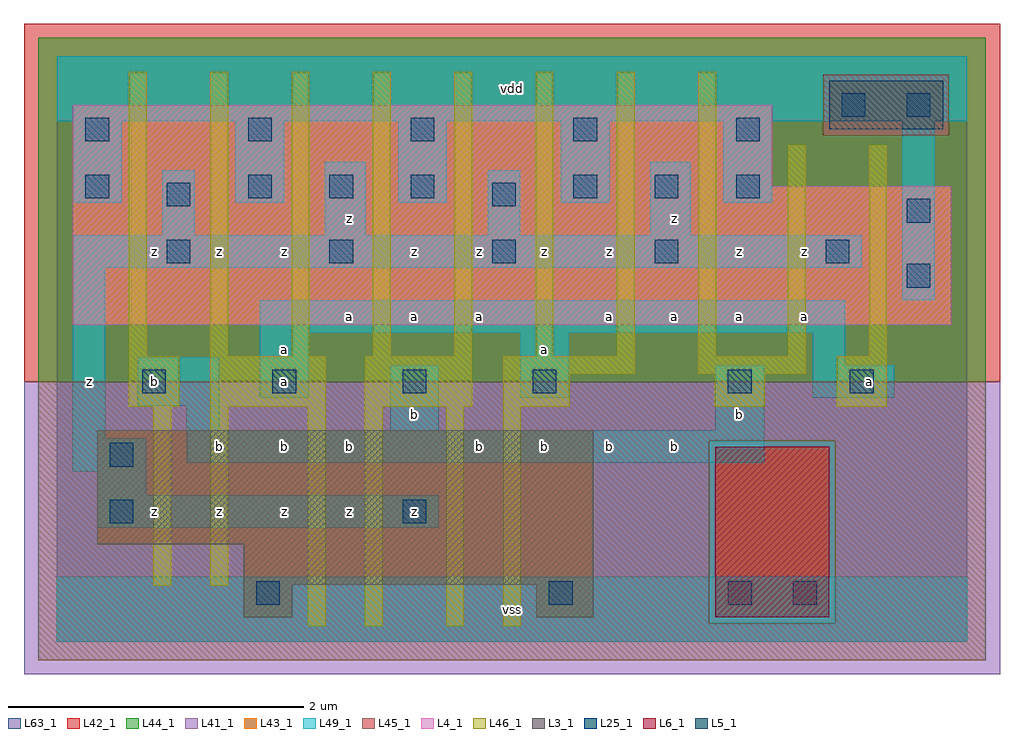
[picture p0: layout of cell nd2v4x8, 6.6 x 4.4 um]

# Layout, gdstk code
import gdstk
lib = gdstk.Library(unit=1e-6, precision=1e-09)
def R(c, l, rs):  # rectangles x0, y0, x1, y1
    for r in rs: c.add(gdstk.rectangle(r[:2], r[2:], *l))
def A(c, l, x, y, w, h, nx, ny, dx, dy):  # array of equal rectangles
    R(c, l, [(x+i*dx, y+j*dy, x+i*dx+w, y+j*dy+h) for i in range(nx) for j in range(ny)])
L3_1 = (3, 1)
L4_1 = (4, 1)
L5_1 = (5, 1)
L6_1 = (6, 1)
L25_1 = (25, 1)
L41_1 = (41, 1)
L42_1 = (42, 1)
L43_1 = (43, 1)
L44_1 = (44, 1)
L45_1 = (45, 1)
L46_1 = (46, 1)
L49_1 = (49, 1)
L63_1 = (63, 1)

nd2v4x8 = lib.new_cell('nd2v4x8')
R(nd2v4x8, L3_1, [(1.265,0.165,1.595,0.385), (3.245,0.165,3.63,0.385), (1.265,0.385,3.63,0.66), (0.275,0.66,3.63,1.43)])
R(nd2v4x8, L4_1, [(0.11,2.145,6.05,3.08), (0.11,3.08,4.84,3.63)])
R(nd2v4x8, L5_1, [(5.225,3.465,5.995,3.795)])
R(nd2v4x8, L6_1, [(4.455,0.165,5.225,1.32)])
A(nd2v4x8, L25_1, 0.58, 1.68, 0.16, 0.16, 4, 1, 0.88, 0)
A(nd2v4x8, L25_1, 0.745, 2.56, 0.16, 0.16, 4, 1, 1.1, 0)
A(nd2v4x8, L25_1, 1.295, 3, 0.16, 0.16, 3, 1, 0.55, 0)
A(nd2v4x8, L25_1, 3.495, 3, 0.16, 0.16, 3, 1, 0.55, 0)
A(nd2v4x8, L25_1, 0.195, 3.385, 0.16, 0.16, 5, 1, 1.1, 0)
R(nd2v4x8, L25_1, [(1.35,0.25,1.51,0.41), (3.33,0.25,3.49,0.41), (4.54,0.25,4.7,0.41), (4.98,0.25,5.14,0.41), (0.36,0.8,0.52,0.96), (2.34,0.8,2.5,0.96), (0.36,1.185,0.52,1.345), (4.54,1.68,4.7,1.84), (5.365,1.68,5.525,1.84), (5.75,2.395,5.91,2.555), (5.2,2.56,5.36,2.72), (5.75,2.835,5.91,2.995), (0.745,2.945,0.905,3.105), (2.945,2.945,3.105,3.105), (0.195,3,0.355,3.16), (5.31,3.55,5.47,3.71), (5.75,3.55,5.91,3.71)])
R(nd2v4x8, L41_1, [(-0.22,-0.22,6.38,1.76)])
R(nd2v4x8, L42_1, [(-0.22,1.76,6.38,4.18)])
R(nd2v4x8, L43_1, [(1.265,0.165,1.595,0.385), (3.245,0.165,3.63,0.385), (4.455,0.165,5.225,1.32), (1.265,0.385,3.63,0.66), (0.275,0.66,3.63,1.43), (0.11,2.145,6.05,3.08), (0.11,3.08,4.84,3.63), (5.225,3.465,5.995,3.795)])
R(nd2v4x8, L44_1, [(4.415,0.125,5.265,1.36), (-0.125,1.76,6.285,3.425), (-0.125,3.425,5.185,3.835), (6.035,3.425,6.285,3.835), (-0.125,3.835,6.285,4.085)])
R(nd2v4x8, L45_1, [(-0.125,-0.125,6.285,0.125), (-0.125,0.125,4.415,1.36), (5.265,0.125,6.285,1.36), (-0.125,1.36,6.285,1.76), (5.185,3.425,6.035,3.835)])
A(nd2v4x8, L46_1, 0.49, 1.93, 0.12, 1.925, 8, 1, 0.55, 0)
R(nd2v4x8, L46_1, [(1.7,0.105,1.82,1.59), (2.085,0.105,2.205,1.59), (2.635,0.105,2.755,1.59), (3.02,0.105,3.14,1.59), (0.655,0.38,0.775,1.59), (1.04,0.38,1.16,1.59), (0.49,1.59,0.83,1.93), (1.04,1.59,1.82,1.93), (2.085,1.59,2.81,1.93), (3.02,1.59,3.47,1.81), (4.45,1.59,4.79,1.81), (5.275,1.59,5.615,1.93), (3.02,1.81,3.91,1.93), (4.34,1.81,5.065,1.93), (4.945,1.93,5.065,3.36), (5.495,1.93,5.615,3.36)])
A(nd2v4x8, L49_1, 0.11, 2.97, 0.33, 0.55, 5, 1, 1.1, 0)
R(nd2v4x8, L49_1, [(0,0,6.16,0.44), (0.275,0.77,2.585,0.99), (0.275,0.99,0.605,1.155), (0.11,1.155,0.605,1.375), (0.88,1.21,4.785,1.43), (0.11,1.375,0.33,2.53), (0.88,1.43,1.1,1.595), (2.255,1.43,2.585,1.87), (4.455,1.43,4.785,1.87), (0.55,1.595,1.1,1.925), (1.375,1.65,1.705,2.09), (3.135,1.65,3.465,2.09), (5.115,1.65,5.665,1.87), (5.115,1.87,5.335,2.09), (1.375,2.09,5.335,2.31), (5.72,2.31,5.94,3.52), (0.11,2.53,5.445,2.75), (0.715,2.75,0.935,3.19), (1.815,2.75,2.09,3.245), (2.915,2.75,3.135,3.19), (4.015,2.75,4.29,3.245), (0,3.52,6.16,3.96)])
R(nd2v4x8, L63_1, [(0,0,6.16,3.96)])
nd2v4x8.add(gdstk.Label('z', (0.66,0.88), layer=49, texttype=1))
nd2v4x8.add(gdstk.Label('b', (0.66,1.76), layer=49, texttype=1))
nd2v4x8.add(gdstk.Label('z', (0.22,1.76), layer=49, texttype=1))
nd2v4x8.add(gdstk.Label('z', (0.66,2.64), layer=49, texttype=1))
nd2v4x8.add(gdstk.Label('z', (1.54,0.88), layer=49, texttype=1))
nd2v4x8.add(gdstk.Label('z', (1.98,0.88), layer=49, texttype=1))
nd2v4x8.add(gdstk.Label('z', (1.1,0.88), layer=49, texttype=1))
nd2v4x8.add(gdstk.Label('b', (1.1,1.32), layer=49, texttype=1))
nd2v4x8.add(gdstk.Label('b', (1.54,1.32), layer=49, texttype=1))
nd2v4x8.add(gdstk.Label('b', (1.98,1.32), layer=49, texttype=1))
nd2v4x8.add(gdstk.Label('a', (1.54,1.76), layer=49, texttype=1))
nd2v4x8.add(gdstk.Label('a', (1.98,2.2), layer=49, texttype=1))
nd2v4x8.add(gdstk.Label('a', (1.54,1.98), layer=49, texttype=1))
nd2v4x8.add(gdstk.Label('z', (1.1,2.64), layer=49, texttype=1))
nd2v4x8.add(gdstk.Label('z', (1.98,2.86), layer=49, texttype=1))
nd2v4x8.add(gdstk.Label('z', (1.54,2.64), layer=49, texttype=1))
nd2v4x8.add(gdstk.Label('vss', (3.08,0.22), layer=49, texttype=1))
nd2v4x8.add(gdstk.Label('z', (2.42,0.88), layer=49, texttype=1))
nd2v4x8.add(gdstk.Label('b', (2.86,1.32), layer=49, texttype=1))
nd2v4x8.add(gdstk.Label('b', (3.3,1.32), layer=49, texttype=1))
nd2v4x8.add(gdstk.Label('b', (2.42,1.54), layer=49, texttype=1))
nd2v4x8.add(gdstk.Label('a', (2.42,2.2), layer=49, texttype=1))
nd2v4x8.add(gdstk.Label('a', (2.86,2.2), layer=49, texttype=1))
nd2v4x8.add(gdstk.Label('a', (3.3,1.98), layer=49, texttype=1))
nd2v4x8.add(gdstk.Label('z', (2.42,2.64), layer=49, texttype=1))
nd2v4x8.add(gdstk.Label('z', (2.86,2.64), layer=49, texttype=1))
nd2v4x8.add(gdstk.Label('z', (3.3,2.64), layer=49, texttype=1))
nd2v4x8.add(gdstk.Label('vdd', (3.08,3.74), layer=49, texttype=1))
nd2v4x8.add(gdstk.Label('b', (3.74,1.32), layer=49, texttype=1))
nd2v4x8.add(gdstk.Label('b', (4.18,1.32), layer=49, texttype=1))
nd2v4x8.add(gdstk.Label('b', (4.62,1.54), layer=49, texttype=1))
nd2v4x8.add(gdstk.Label('a', (3.74,2.2), layer=49, texttype=1))
nd2v4x8.add(gdstk.Label('a', (4.18,2.2), layer=49, texttype=1))
nd2v4x8.add(gdstk.Label('a', (4.62,2.2), layer=49, texttype=1))
nd2v4x8.add(gdstk.Label('z', (3.74,2.64), layer=49, texttype=1))
nd2v4x8.add(gdstk.Label('z', (4.18,2.86), layer=49, texttype=1))
nd2v4x8.add(gdstk.Label('z', (4.62,2.64), layer=49, texttype=1))
nd2v4x8.add(gdstk.Label('a', (5.5,1.76), layer=49, texttype=1))
nd2v4x8.add(gdstk.Label('a', (5.06,2.2), layer=49, texttype=1))
nd2v4x8.add(gdstk.Label('z', (5.06,2.64), layer=49, texttype=1))

lib.write_gds('nd2v4x8.gds')
